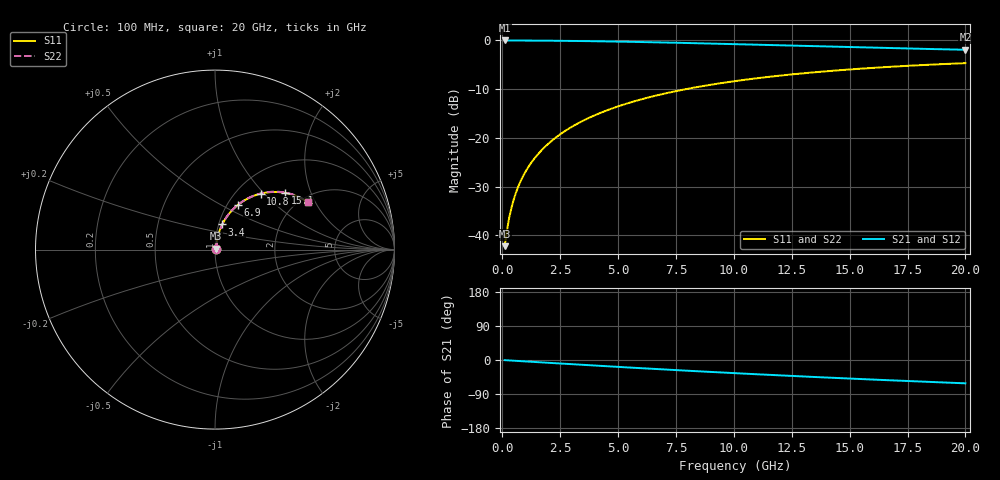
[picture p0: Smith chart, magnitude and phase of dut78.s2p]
! Touchstone file exported from HFSS 2026.1.0
!  File:  C:/ffzhzh/LocalFiles/Ansys_Project_Files/temp_train_BSMRDL_78_1782883025_13352.aedt
!  Generated:  01:18:32 PM Jul  1, 2026
!  Design:  BSMRDL
!  Project:  temp_train_BSMRDL_78_1782883025_13352
! Variables:
!  h_bsmrdl = 3.51um
!  h_ox = 20um
!  h_rdl = 5um
!  h_sub = 80um
!  h_tmrdl = 5um
!  h_tsv = 80um
!  h_via = 3um
!  l_bsmrdl = 930.99um
!  l_sub = 1330.99um
!  l_tmrdl = 200um
!  m_sub = 200um
!  pitch = 49.24um
!  r_tsv = 6um
!  s_tmrdl = 10um
!  w_bsmrdl = 15.22um
!  w_sub = 500um
!  w_tmrdl = 12um
!  x_tsv_center1 = 206um
!  x_tsv_center2 = 1152.21um
!  x_tsv_center3 = 1364.21um
!  x_tsv_center4 = 2310.42um
!  x_tsv_center5 = 2522.42um
!  x_tsv_center6 = 3468.63um
# GHz S MA R 50.000000
! Terminal data exported
! Port[1] = BSM_RDL1_1_T1
! Port[2] = BSM_RDL1_1_T2
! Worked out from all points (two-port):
!   200 points, 100 MHz to 20 GHz, reference 50 ohm
!   highest |S21| = -0.05 dB at 100 MHz (marker M1); lowest = -2.0 dB at 20 GHz (marker M2)
!   |S21| within 3 dB of the highest: start of sweep to end of sweep
!   lowest |S11| = -42.2 dB at 100 MHz (marker M3), VSWR 1.02, Z = 50.6 + j0.465 ohm
!   |S11| at or under -10 dB: start of sweep to 7.969 GHz
!   |S22| runs from -42.2 to -4.7 dB; largest |S21 - S12| = 7.4e-15
!   S11 on the Smith chart (normalised r, x): 100 MHz: 1.01, +0.01; 3.4 GHz: 1.04, +0.30; 6.9 GHz: 1.12, +0.61; 10.8 GHz: 1.28, +0.95; 15.1 GHz: 1.59, +1.34; 20 GHz: 2.21, +1.75
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0.1  0.007734 36.4  0.9938 -0.4  0.9938 -0.4  0.007734 36.4
! Gamma 0 0 0 0
! Port Impedance 50 0 50 0
0.2  0.01118 54.7  0.9936 -0.8  0.9936 -0.8  0.01118 54.7
0.3  0.01518 63.5  0.9934 -1.2  0.9934 -1.2  0.01518 63.5
0.4  0.01934 68.2  0.9931 -1.5  0.9931 -1.5  0.01934 68.2
0.5  0.02354 71.2  0.9929 -1.9  0.9929 -1.9  0.02354 71.2
0.6  0.02776 73.1  0.9926 -2.3  0.9926 -2.3  0.02776 73.1
0.8  0.03624 75.5  0.9921 -3.0  0.9921 -3.0  0.03623 75.5
1.1  0.049 77.1  0.9914 -4.1  0.9914 -4.1  0.049 77.1
1.5  0.06605 77.7  0.9901 -5.6  0.9901 -5.6  0.06605 77.7
2  0.08733 77.3  0.9882 -7.4  0.9882 -7.4  0.08733 77.4
2.6  0.1127 76.1  0.9853 -9.6  0.9853 -9.6  0.1126 76.2
3.4  0.1459 73.9  0.9804 -12.5  0.9804 -12.5  0.1459 74.0
3.5  0.15 73.7  0.9797 -12.9  0.9797 -12.9  0.1499 73.7
5  0.2096 69.0  0.9676 -18.2  0.9676 -18.2  0.2096 69.1
6.8  0.2762 63.1  0.9494 -24.4  0.9494 -24.4  0.2762 63.3
6.9  0.2798 62.8  0.9483 -24.7  0.9483 -24.7  0.2797 63.0
10.1  0.3822 52.9  0.9102 -34.9  0.9102 -34.9  0.3822 53.1
10.8  0.4019 50.8  0.9014 -37.1  0.9014 -37.1  0.4019 51.0
13.4  0.4671 43.4  0.869 -44.6  0.869 -44.6  0.4671 43.7
15.1  0.5032 38.9  0.8487 -49.3  0.8487 -49.3  0.5031 39.2
16.7  0.5328 34.8  0.8307 -53.4  0.8307 -53.4  0.5327 35.1
20  0.5819 26.8  0.7978 -61.5  0.7978 -61.5  0.5818 27.2
